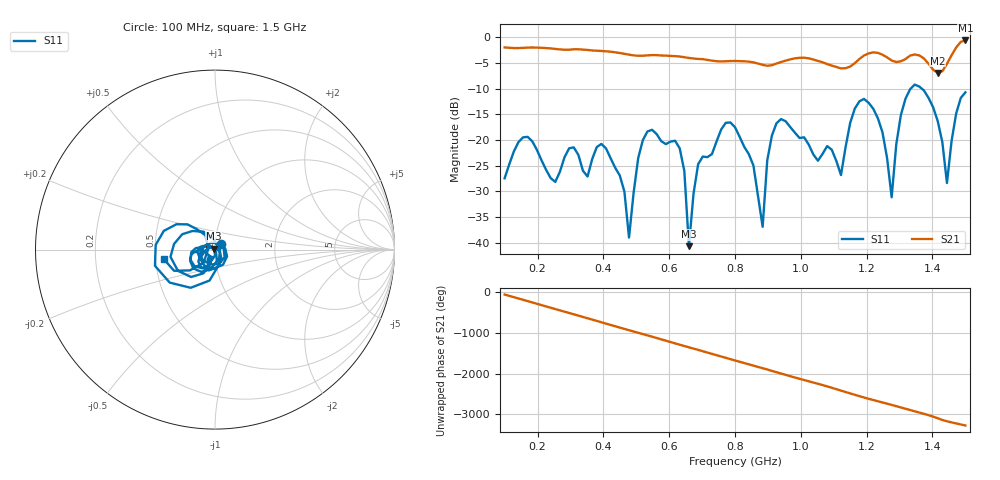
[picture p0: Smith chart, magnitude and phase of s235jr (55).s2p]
! NanoVNA-App
! Date: 2025-09-25 15:04:35
! Start: 100MHz Stop: 1,5GHz Points: 101
! S-Parameter data: F S11 S21 S12 S22
# Hz S RI R 50
!  Frequency  S11_Real  S11_Imag  S21_Real  S21_Imag  S12_Real  S12_Imag  S22_Real  S22_Imag
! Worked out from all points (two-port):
!   101 points, 100 MHz to 1.5 GHz, reference 50 ohm
!   highest |S21| = -0.61 dB at 1.5 GHz (marker M1); lowest = -6.9 dB at 1.416 GHz (marker M2)
!   |S21| within 3 dB of the highest: start of sweep to 600.3 MHz; 1.191 GHz to 1.254 GHz (63.4 MHz wide, 5.19 % of centre) (the widest 2 of 4)
!   lowest |S11| = -40.7 dB at 660 MHz (marker M3), VSWR 1.02, Z = 49.3 + j0.584 ohm
!   |S11| at or under -10 dB: start of sweep to 1.334 GHz; 1.368 GHz to end of sweep
!   S12 and S22 are empty: the file has one direction only
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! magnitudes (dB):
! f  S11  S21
! 100 MHz  -27.5  -2.0
! 170 MHz  -19.4  -2.0
! 338 MHz  -26.0  -2.4
! 408 MHz  -21.6  -2.7
! 478 MHz  -39.0  -3.4
! 520 MHz  -20.0  -3.6
! 576 MHz  -20.2  -3.5
! 632 MHz  -21.6  -3.7
! 660 MHz  -40.7  -4.0
! 688 MHz  -24.7  -4.2
! 800 MHz  -17.5  -4.6
! 884 MHz  -36.9  -5.4
! 926 MHz  -16.7  -5.1
! 1.038 GHz  -22.8  -4.3
! 1.122 GHz  -26.8  -6.0
! 1.192 GHz  -12.0  -3.5
! 1.248 GHz  -18.5  -3.4
! 1.276 GHz  -31.2  -4.5
! 1.332 GHz  -10.1  -3.6
! 1.416 GHz  -16.3  -6.9
! 1.444 GHz  -28.4  -5.2
! 1.5 GHz  -10.7  -0.6
